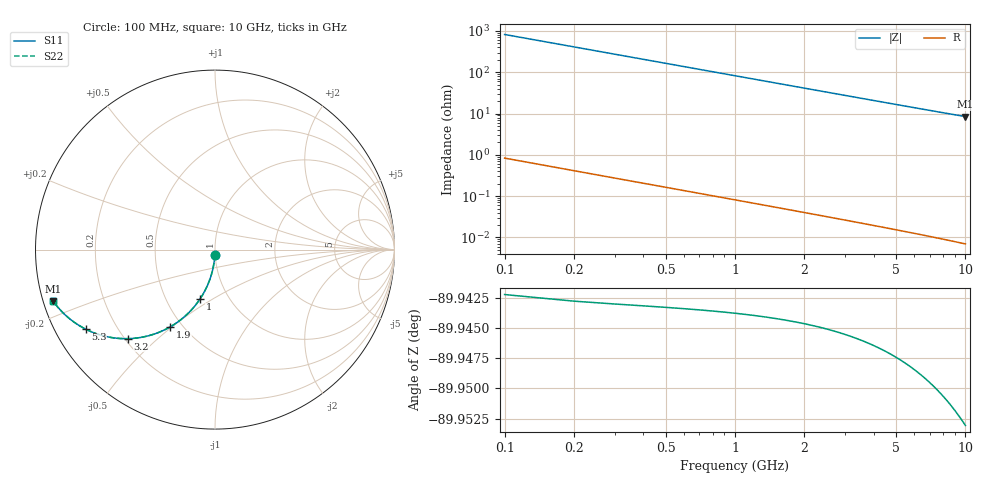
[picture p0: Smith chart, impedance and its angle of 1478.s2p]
# Hz S RI R 50.00
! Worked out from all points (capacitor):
!   100 points, 100 MHz to 10 GHz, reference 50 ohm
!   read as one part in shunt: C = 1.93 pF near 100 MHz
!   lowest |Z| = 8.46 ohm at 10 GHz (marker M1)
!   S11 on the Smith chart (normalised r, x): 100 MHz: 1.00, -0.06; 1 GHz: 0.73, -0.44; 1.9 GHz: 0.43, -0.49; 3.2 GHz: 0.21, -0.41; 5.3 GHz: 0.09, -0.28; 10 GHz: 0.03, -0.15
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1e8  -0.000882 -0.0301  0.999 -0.0303  0.999 -0.0303  -0.000882 -0.0301
2e8  -0.00365 -0.0601  0.9962 -0.0605  0.9962 -0.0605  -0.00365 -0.0601
3e8  -0.0082 -0.0898  0.9917 -0.0903  0.9917 -0.0903  -0.0082 -0.0898
4e8  -0.0145 -0.1189  0.9854 -0.1197  0.9854 -0.1197  -0.0145 -0.1189
5e8  -0.0225 -0.1474  0.9774 -0.1484  0.9774 -0.1484  -0.0225 -0.1474
6e8  -0.032 -0.1752  0.9678 -0.1763  0.9678 -0.1763  -0.032 -0.1752
7e8  -0.0431 -0.202  0.9568 -0.2033  0.9568 -0.2033  -0.0431 -0.202
8e8  -0.0555 -0.2278  0.9444 -0.2294  0.9444 -0.2294  -0.0555 -0.2278
1e9  -0.0841 -0.2761  0.9158 -0.2781  0.9158 -0.2781  -0.0841 -0.2761
1.2e9  -0.1167 -0.3195  0.8832 -0.3218  0.8832 -0.3218  -0.1167 -0.3195
1.4e9  -0.1524 -0.3576  0.8475 -0.3603  0.8475 -0.3603  -0.1524 -0.3576
1.8e9  -0.229 -0.418  0.7708 -0.4215  0.7708 -0.4215  -0.229 -0.418
1.9e9  -0.2487 -0.4299  0.7512 -0.4336  0.7512 -0.4336  -0.2487 -0.4299
2.5e9  -0.3642 -0.4783  0.6357 -0.4831  0.6357 -0.4831  -0.3642 -0.4783
3.2e9  -0.484 -0.4962  0.5158 -0.5023  0.5158 -0.5023  -0.484 -0.4962
3.4e9  -0.5143 -0.496  0.4855 -0.5026  0.4855 -0.5026  -0.5143 -0.496
4.2e9  -0.6178 -0.4814  0.3821 -0.4894  0.3821 -0.4894  -0.6178 -0.4814
5.1e9  -0.7045 -0.4508  0.2953 -0.4606  0.2953 -0.4606  -0.7045 -0.4508
5.3e9  -0.7203 -0.4432  0.2795 -0.4534  0.2795 -0.4534  -0.7203 -0.4432
6.7e9  -0.8047 -0.3893  0.1951 -0.4023  0.1951 -0.4023  -0.8047 -0.3893
8.4e9  -0.8665 -0.3313  0.1332 -0.3477  0.1332 -0.3477  -0.8665 -0.3313
1e10  -0.9022 -0.2865  0.0975 -0.3061  0.0975 -0.3061  -0.9022 -0.2865
